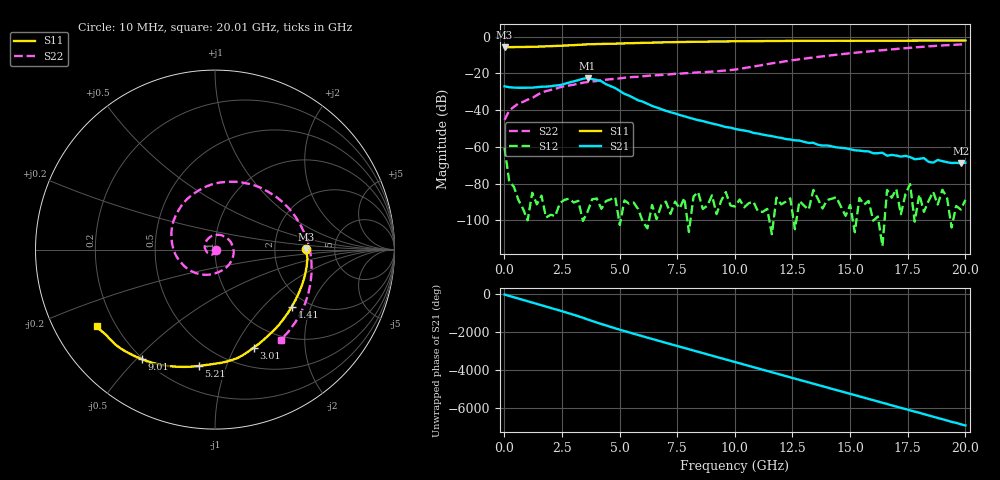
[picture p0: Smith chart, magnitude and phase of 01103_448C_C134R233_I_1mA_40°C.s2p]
!;Filter: kein Filter
!auto
!3/21/2019 9:26:39 AM
!3/21/2019 9:26:51 AM
!SP-Measurements Prober G4
!SP-Measurements Prober G4
!01103_448C
!134
!233
!12
!40
!-20
!0.00099996
!1.65
!0.05816927
!0.05816927
# Hz S  RI  R 50
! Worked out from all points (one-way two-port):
!   101 points, 10 MHz to 20.01 GHz, reference 50 ohm
!   highest |S21| = -22.49 dB at 3.61 GHz (marker M1); lowest = -68.9 dB at 19.81 GHz (marker M2)
!   lowest |S11| = -5.9 dB at 10 MHz (marker M3), VSWR 3.06, Z = 153 + j1.6 ohm
!   |S11| at or under -10 dB: nowhere
!   |S22| runs from -45.3 to -4.1 dB; largest |S21 - S12| = 0.075
!   S11 on the Smith chart (normalised r, x): 10 MHz: 3.06, +0.03; 1.41 GHz: 1.67, -1.48; 3.01 GHz: 0.72, -1.20; 5.21 GHz: 0.35, -0.80; 9.01 GHz: 0.20, -0.52; 20.01 GHz: 0.13, -0.29
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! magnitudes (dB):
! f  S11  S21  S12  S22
! 10 MHz  -5.9  -27.1  -60.5  -45.3
! 210 MHz  -5.7  -27.5  -78.8  -40.2
! 610 MHz  -5.7  -27.8  -88.9  -36.3
! 1.41 GHz  -5.5  -27.5  -91.2  -31.9
! 2.41 GHz  -5.0  -26.4  -90.5  -27.6
! 3.01 GHz  -4.6  -24.3  -90.2  -26.1
! 3.41 GHz  -4.3  -22.9  -100.3  -25.1
! 3.61 GHz  -4.2  -22.5  -95.3  -24.7
! 4.21 GHz  -4.0  -24.3  -93.7  -23.8
! 5.21 GHz  -3.7  -31.1  -89.1  -22.4
! 6.81 GHz  -3.2  -39.5  -91.7  -20.9
! 9.01 GHz  -2.7  -47.3  -86.3  -19.0
! 10.01 GHz  -2.6  -50.2  -92.4  -17.9
! 13.41 GHz  -2.3  -57.8  -83.4  -11.3
! 16.81 GHz  -2.2  -64.4  -87.7  -7.0
! 17.41 GHz  -2.2  -64.9  -85.6  -6.3
! 17.81 GHz  -2.2  -66.7  -100.7  -5.9
! 18.21 GHz  -2.2  -66.1  -95.4  -5.5
! 18.61 GHz  -2.1  -68.6  -84.4  -5.1
! 18.81 GHz  -2.1  -67.1  -91.3  -5.0
! 19.81 GHz  -2.1  -68.9  -94.1  -4.3
! 20.01 GHz  -2.1  -68.6  -88.9  -4.1
